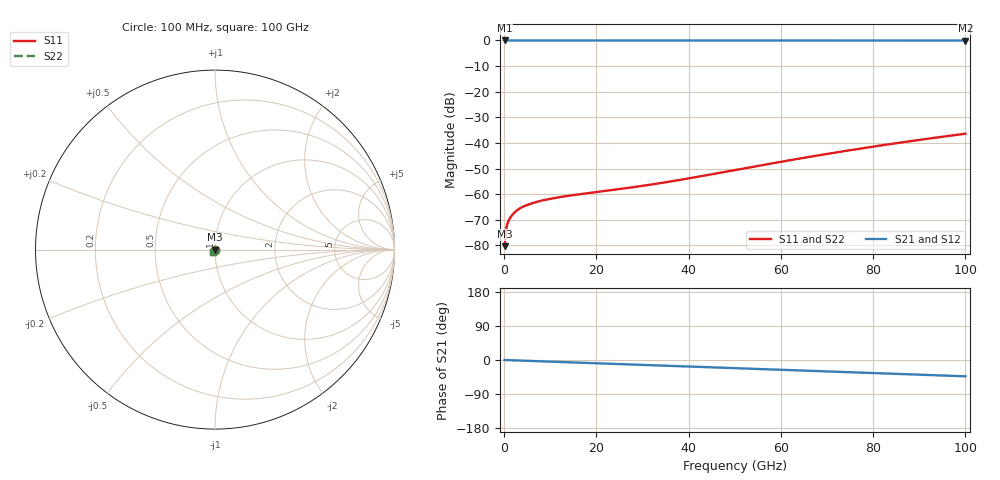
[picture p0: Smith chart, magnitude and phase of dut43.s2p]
! Touchstone file exported from HFSS 2026.1.0
!  File:  C:/ffzhzh/LocalFiles/Ansys_Project_Files/temp_train_TSV_43_1783504797_41296.aedt
!  Generated:  06:01:15 PM Jul  8, 2026
!  Design:  TSV
!  Project:  temp_train_TSV_43_1783504797_41296
! Variables:
!  h_bsmrdl = 2um
!  h_ox = 20um
!  h_rdl = 5um
!  h_sub = 84.97um
!  h_tmrdl = 5um
!  h_tsv = 84.97um
!  h_via = 3um
!  l_bsmrdl = 300um
!  l_sub = 426.56um
!  l_tmrdl = 200um
!  m_sub = 200um
!  pitch = 53.13um
!  r_tsv = 13.28um
!  s_tmrdl = 10um
!  w_bsmrdl = 18um
!  w_sub = 500um
!  w_tmrdl = 12um
!  x_tsv_center1 = 206um
!  x_tsv_center2 = 524um
!  x_tsv_center3 = 736um
!  x_tsv_center4 = 1054um
!  x_tsv_center5 = 1266um
!  x_tsv_center6 = 1584um
# GHz S MA R 50.000000
! Terminal data exported
! Port[1] = TSV1_1_T1
! Port[2] = TSV1_1_T2
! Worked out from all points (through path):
!   1000 points, 100 MHz to 100 GHz, reference 50 ohm
!   highest |S21| = 0.00 dB at 100 MHz (marker M1); lowest = 0.0 dB at 100 GHz (marker M2)
!   group delay of S21, straight-line fit = 1.19 ps
!   lowest |S11| = -80.3 dB at 100 MHz (marker M3), VSWR 1.00, Z = 50 + j0.00428 ohm
!   |S11| at or under -10 dB: start of sweep to end of sweep
!   |S22| runs from -80.3 to -36.4 dB; largest |S21 - S12| = 6.1e-15
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0.1  9.698e-05 26.2  0.9999 -0.0  0.9999 -0.0  9.698e-05 26.2
! Gamma 0 0 0 0
! Port Impedance 50 0 50 0
0.3  0.0001653 41.7  0.9999 -0.1  0.9999 -0.1  0.0001653 41.7
0.7  0.0002648 39.6  0.9998 -0.3  0.9998 -0.3  0.0002648 39.6
0.8  0.0002815 38.9  0.9998 -0.4  0.9998 -0.4  0.0002815 38.9
1  0.0003102 37.7  0.9998 -0.4  0.9998 -0.4  0.0003102 37.7
1.2  0.0003351 36.9  0.9997 -0.5  0.9997 -0.5  0.0003352 36.9
1.6  0.0003792 35.7  0.9997 -0.7  0.9997 -0.7  0.0003792 35.7
2.2  0.0004368 34.0  0.9996 -1.0  0.9996 -1.0  0.0004368 34.0
2.8  0.0004861 32.2  0.9996 -1.2  0.9996 -1.2  0.0004861 32.2
3.5  0.0005349 30.0  0.9995 -1.5  0.9995 -1.5  0.0005349 30.0
4.4  0.0005874 27.4  0.9995 -1.9  0.9995 -1.9  0.0005874 27.4
5.5  0.0006415 24.5  0.9994 -2.4  0.9994 -2.4  0.0006416 24.5
8.4  0.0007591 17.2  0.9993 -3.6  0.9993 -3.6  0.0007592 17.2
11.9  0.0008734 8.3  0.9991 -5.1  0.9991 -5.1  0.0008736 8.3
16.8  0.001011 -3.6  0.999 -7.2  0.999 -7.2  0.001012 -3.6
26.6  0.001318 -27.6  0.9987 -11.4  0.9987 -11.4  0.001319 -27.6
33.4  0.001622 -43.9  0.9986 -14.3  0.9986 -14.3  0.001623 -43.9
40.3  0.002059 -58.9  0.9984 -17.3  0.9984 -17.3  0.002061 -58.9
50.1  0.002967 -76.8  0.9982 -21.5  0.9982 -21.5  0.00297 -76.7
66.7  0.005455 -98.5  0.9979 -28.6  0.9979 -28.6  0.005457 -98.4
83.4  0.009423 -113.8  0.9975 -35.8  0.9975 -35.8  0.009425 -113.8
100  0.01517 -126.0  0.997 -43.0  0.997 -43.0  0.01517 -125.9
